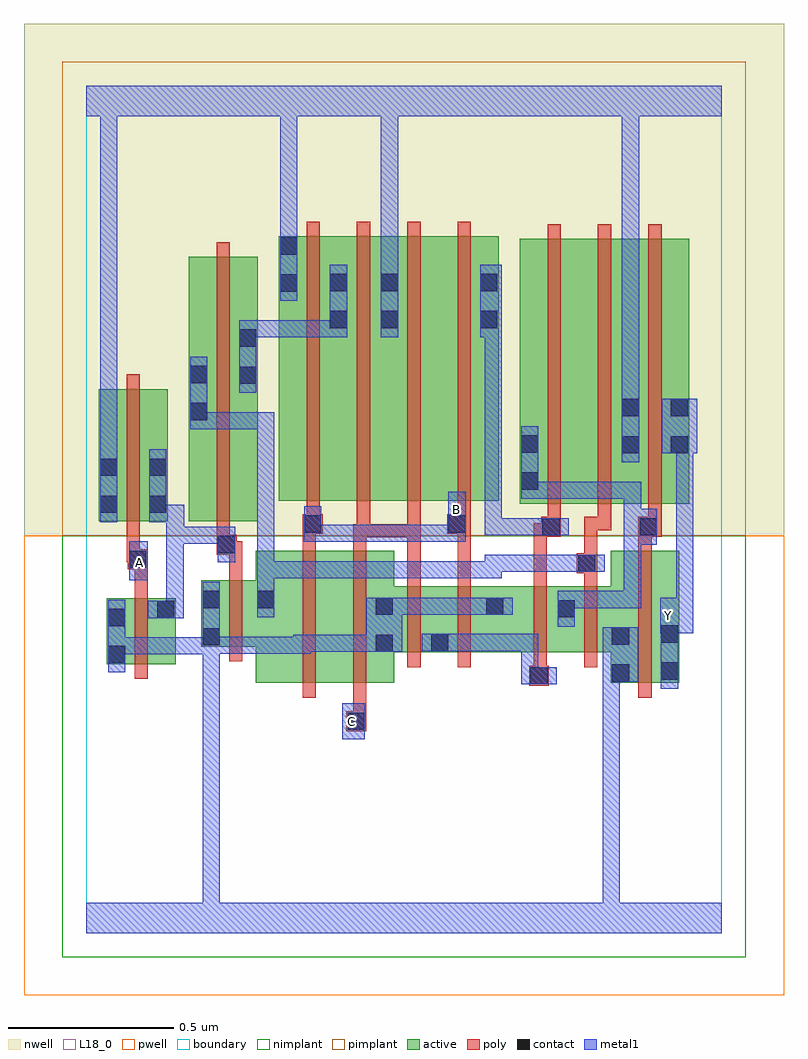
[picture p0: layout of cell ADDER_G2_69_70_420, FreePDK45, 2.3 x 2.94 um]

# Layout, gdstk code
import gdstk
lib = gdstk.Library(unit=1e-6, precision=1e-09)
def R(c, l, rs):  # rectangles x0, y0, x1, y1
    for r in rs: c.add(gdstk.rectangle(r[:2], r[2:], *l))
def A(c, l, x, y, w, h, nx, ny, dx, dy):  # array of equal rectangles
    R(c, l, [(x+i*dx, y+j*dy, x+i*dx+w, y+j*dy+h) for i in range(nx) for j in range(ny)])
active = (1, 0)
pwell = (2, 0)
nwell = (3, 0)
nimplant = (4, 0)
pimplant = (5, 0)
poly = (9, 0)
contact = (10, 0)
metal1 = (11, 0)
L18_0 = (18, 0)
boundary = (235, 0)

adder_g2_69_70_420 = lib.new_cell('ADDER_G2_69_70_420')
R(adder_g2_69_70_420, active, [(0.512,0.756,0.75,1.156), (0.75,0.756,0.93,1.156), (0.87,0.756,0.93,1.018), (1.584,0.756,1.792,1.156), (1.584,0.756,1.644,0.934), (1.732,0.756,1.792,1.156), (0.062,0.812,0.122,1.012), (0.062,0.812,0.27,1.012), (0.21,0.812,0.27,1.012), (0.512,0.828,0.572,1.038), (0.87,0.848,1.098,1.048), (1.038,0.848,1.264,1.048), (1.038,0.848,1.098,0.956), (1.204,0.848,1.48,1.048), (1.42,0.848,1.644,1.048), (0.348,0.866,0.572,1.066), (0.348,0.866,0.408,1.066), (1.42,0.95,1.48,1.01), (1.204,0.952,1.264,1.018), (0.038,1.244,0.098,1.644), (0.038,1.244,0.246,1.644), (0.186,1.244,0.246,1.644), (0.31,1.244,0.518,2.044), (0.31,1.244,0.37,2.044), (0.458,1.244,0.518,2.044), (1.31,1.298,1.49,2.098), (1.31,1.298,1.37,2.098), (1.49,1.298,1.674,2.098), (1.614,1.298,1.822,2.098), (1.762,1.298,1.822,2.044), (0.582,1.306,0.642,2.106), (0.582,1.306,0.792,2.106), (0.732,1.306,0.792,2.106), (0.732,1.306,0.946,2.106), (0.886,1.306,1.066,2.106), (0.886,1.306,0.946,2.044), (1.066,1.306,1.246,2.106), (1.186,1.306,1.246,2.106), (1.614,1.412,1.674,2.044)])
R(adder_g2_69_70_420, pwell, [(-0.188,-0.188,2.108,1.2)])
R(adder_g2_69_70_420, nwell, [(-0.188,1.2,2.108,2.748)])
R(adder_g2_69_70_420, nimplant, [(-0.072,-0.072,1.992,1.2)])
R(adder_g2_69_70_420, pimplant, [(-0.072,1.2,1.992,2.632)])
A(adder_g2_69_70_420, poly, 1.394, 1.218, 0.04, 0.076, 3, 1, 0.152, 0)
A(adder_g2_69_70_420, poly, 1.394, 1.254, 0.04, 0.888, 3, 1, 0.152, 0)
A(adder_g2_69_70_420, poly, 0.666, 1.262, 0.04, 0.888, 4, 1, 0.152, 0)
R(adder_g2_69_70_420, poly, [(0.786,0.61,0.846,0.67), (0.806,0.63,0.846,0.752), (0.654,0.712,0.694,1.2), (0.806,0.712,0.846,1.2), (1.668,0.712,1.708,1.2), (1.338,0.748,1.398,0.808), (0.146,0.768,0.186,1.056), (1.352,0.768,1.392,0.844), (0.97,0.804,1.01,1.092), (1.122,0.804,1.162,1.092), (1.352,0.804,1.392,1.092), (1.504,0.804,1.544,1.092), (0.432,0.822,0.472,1.11), (0.146,1.016,0.186,1.14), (0.97,1.052,1.01,1.236), (1.122,1.052,1.162,1.246), (1.352,1.052,1.392,1.238), (1.504,1.052,1.544,1.128), (0.432,1.07,0.472,1.184), (1.482,1.088,1.544,1.148), (0.126,1.1,0.186,1.16), (1.504,1.108,1.544,1.258), (0.122,1.12,0.162,1.24), (0.122,1.12,0.166,1.16), (0.126,1.12,0.166,1.16), (0.394,1.144,0.454,1.204), (0.414,1.144,0.454,1.184), (0.414,1.144,0.472,1.184), (0.654,1.16,0.694,1.246), (0.806,1.16,0.846,1.236), (1.668,1.16,1.708,1.238), (0.394,1.164,0.434,1.24), (0.806,1.196,0.858,1.236), (0.818,1.196,0.858,1.236), (0.818,1.196,0.858,1.236), (0.818,1.196,0.858,1.302), (0.818,1.196,1.01,1.236), (0.97,1.196,1.01,1.236), (0.97,1.196,1.01,1.236), (0.97,1.196,1.01,1.236), (0.97,1.196,1.01,1.236), (0.97,1.196,1.01,1.236), (0.97,1.196,1.01,1.302), (1.352,1.198,1.414,1.238), (1.374,1.198,1.414,1.238), (1.374,1.198,1.434,1.258), (1.668,1.198,1.708,1.238), (1.668,1.198,1.708,1.238), (1.668,1.198,1.738,1.258), (0.122,1.2,0.162,1.688), (0.394,1.2,0.434,2.088), (0.654,1.206,0.694,1.246), (0.654,1.206,0.694,1.246), (0.654,1.206,0.714,1.266), (1.09,1.206,1.162,1.266), (1.122,1.206,1.162,1.246), (1.122,1.206,1.162,1.246), (1.504,1.218,1.586,1.258), (0.666,1.226,0.706,1.302), (1.122,1.226,1.162,1.302)])
R(adder_g2_69_70_420, contact, [(0.79,0.614,0.842,0.666), (1.342,0.752,1.394,0.804), (1.588,0.76,1.64,0.812), (1.736,0.766,1.788,0.818), (0.066,0.816,0.118,0.868), (0.874,0.85,0.926,0.902), (1.042,0.852,1.094,0.904), (0.352,0.87,0.404,0.922), (1.588,0.872,1.64,0.924), (1.736,0.878,1.788,0.93), (0.066,0.928,0.118,0.98), (0.214,0.952,0.266,1.004), (1.424,0.954,1.476,1.006), (0.874,0.962,0.926,1.014), (1.208,0.962,1.26,1.014), (0.352,0.982,0.404,1.034), (0.516,0.982,0.568,1.034), (1.486,1.092,1.538,1.144), (0.13,1.104,0.182,1.156), (0.398,1.148,0.45,1.2), (1.378,1.202,1.43,1.254), (1.672,1.202,1.724,1.254), (0.658,1.21,0.71,1.262), (1.094,1.21,1.146,1.262), (0.042,1.27,0.094,1.322), (0.19,1.27,0.242,1.322), (1.314,1.34,1.366,1.392), (0.042,1.382,0.094,1.434), (0.19,1.382,0.242,1.434), (1.618,1.45,1.67,1.502), (1.766,1.45,1.818,1.502), (1.314,1.452,1.366,1.504), (0.314,1.55,0.366,1.602), (1.618,1.562,1.67,1.614), (1.766,1.562,1.818,1.614), (0.462,1.66,0.514,1.712), (0.314,1.662,0.366,1.714), (0.462,1.772,0.514,1.824), (0.736,1.828,0.788,1.88), (0.89,1.828,0.942,1.88), (1.19,1.828,1.242,1.88), (0.586,1.938,0.638,1.99), (0.736,1.94,0.788,1.992), (0.89,1.94,0.942,1.992), (1.19,1.94,1.242,1.992), (0.586,2.05,0.638,2.102)])
R(adder_g2_69_70_420, metal1, [(0,0,1.92,0.092), (0.352,0.04,0.404,0.092), (0.352,0.04,0.404,0.092), (0.352,0.04,0.404,0.092), (0.352,0.04,0.404,0.092), (0.352,0.04,0.404,0.092), (0.352,0.04,0.404,0.092), (0.352,0.04,0.404,0.092), (0.352,0.04,0.404,0.092), (0.352,0.04,0.404,0.092), (0.352,0.04,0.404,0.092), (0.352,0.04,0.404,0.092), (0.352,0.04,0.404,0.092), (0.352,0.04,0.404,0.092), (0.352,0.04,0.404,0.092), (0.352,0.04,0.404,0.092), (0.352,0.04,0.404,0.092), (0.352,0.04,0.404,0.894), (1.56,0.04,1.612,0.092), (1.56,0.04,1.612,0.092), (1.56,0.04,1.612,0.092), (1.56,0.04,1.612,0.092), (1.56,0.04,1.612,0.092), (1.56,0.04,1.612,0.092), (1.56,0.04,1.612,0.092), (1.56,0.04,1.612,0.092), (1.56,0.04,1.612,0.092), (1.56,0.04,1.612,0.092), (1.56,0.04,1.612,0.092), (1.56,0.04,1.612,0.092), (1.56,0.04,1.612,0.812), (0.774,0.586,0.842,0.694), (1.736,0.738,1.788,0.958), (1.314,0.752,1.366,0.804), (1.314,0.752,1.366,0.804), (1.314,0.752,1.422,0.804), (1.314,0.752,1.366,0.904), (1.56,0.76,1.668,0.924), (0.066,0.788,0.118,1.008), (0.066,0.842,0.118,0.894), (0.066,0.842,0.118,0.894), (0.066,0.842,0.34,0.894), (0.288,0.842,0.34,0.894), (0.288,0.842,0.404,0.894), (0.352,0.842,0.404,1.062), (0.352,0.844,0.528,0.896), (0.476,0.844,0.528,0.896), (0.476,0.844,0.528,0.896), (0.476,0.844,0.528,0.896), (0.476,0.844,0.678,0.896), (0.626,0.844,0.678,0.896), (0.626,0.844,0.678,0.902), (0.626,0.85,0.678,0.902), (0.626,0.85,0.678,0.902), (0.626,0.85,0.678,0.902), (0.626,0.85,0.788,0.902), (0.736,0.85,0.788,0.902), (0.736,0.85,0.832,0.902), (0.78,0.85,0.832,0.902), (0.78,0.85,0.898,0.902), (0.846,0.85,0.954,1.014), (1.014,0.852,1.122,0.904), (1.07,0.852,1.122,0.904), (1.07,0.852,1.122,0.904), (1.07,0.852,1.256,0.904), (1.204,0.852,1.256,0.904), (1.204,0.852,1.366,0.904), (1.314,0.852,1.366,0.904), (1.734,0.906,1.834,1.014), (1.736,0.906,1.788,0.958), (1.424,0.926,1.476,1.034), (0.186,0.952,0.294,1.004), (0.242,0.952,0.294,1.294), (0.516,0.954,0.568,1.062), (0.902,0.962,0.954,1.014), (0.902,0.962,0.954,1.014), (0.902,0.962,1.066,1.014), (1.014,0.962,1.066,1.014), (1.014,0.962,1.066,1.014), (1.014,0.962,1.066,1.014), (1.014,0.962,1.232,1.014), (1.18,0.962,1.288,1.014), (1.782,0.962,1.834,1.502), (1.782,0.962,1.834,1.014), (1.782,0.962,1.834,1.014), (1.424,0.982,1.476,1.034), (1.424,0.982,1.476,1.034), (1.424,0.982,1.676,1.034), (1.624,0.982,1.676,1.034), (1.624,0.982,1.676,1.034), (1.624,0.982,1.676,1.034), (1.624,0.982,1.676,1.252), (0.516,1.01,0.568,1.124), (0.13,1.066,0.186,1.184), (0.516,1.072,0.568,1.124), (0.516,1.072,0.568,1.124), (0.516,1.072,0.568,1.124), (0.516,1.072,0.678,1.124), (0.516,1.072,0.568,1.574), (0.626,1.072,0.678,1.124), (0.626,1.072,0.678,1.124), (0.626,1.072,0.678,1.124), (0.626,1.072,0.788,1.124), (0.736,1.072,0.788,1.124), (0.736,1.072,0.832,1.124), (0.78,1.072,0.832,1.124), (0.78,1.072,0.942,1.124), (0.89,1.072,0.942,1.124), (0.89,1.072,0.942,1.124), (0.89,1.072,0.942,1.124), (0.89,1.072,1.066,1.124), (1.014,1.072,1.066,1.124), (1.014,1.072,1.066,1.124), (1.014,1.072,1.066,1.124), (1.014,1.072,1.256,1.124), (1.204,1.072,1.256,1.124), (1.204,1.072,1.256,1.124), (1.204,1.072,1.256,1.144), (1.204,1.092,1.366,1.144), (1.314,1.092,1.366,1.144), (1.314,1.092,1.476,1.144), (1.424,1.092,1.476,1.144), (1.424,1.092,1.51,1.144), (1.458,1.092,1.566,1.144), (0.398,1.12,0.45,1.228), (1.672,1.174,1.724,1.282), (0.244,1.176,0.45,1.228), (0.244,1.176,0.296,1.294), (0.658,1.182,0.71,1.29), (0.658,1.182,0.788,1.234), (0.736,1.182,0.788,1.234), (0.736,1.182,0.832,1.234), (0.78,1.182,0.832,1.234), (0.78,1.182,0.956,1.234), (0.904,1.182,0.956,1.234), (0.904,1.182,0.956,1.234), (0.904,1.182,0.956,1.234), (0.904,1.182,1.066,1.234), (1.014,1.182,1.066,1.234), (1.014,1.182,1.146,1.234), (1.094,1.182,1.146,1.334), (1.624,1.2,1.676,1.252), (1.624,1.2,1.724,1.252), (1.624,1.2,1.676,1.364), (1.204,1.202,1.256,1.254), (1.204,1.202,1.256,1.254), (1.204,1.202,1.256,1.254), (1.204,1.202,1.402,1.254), (1.204,1.202,1.256,1.852), (1.35,1.202,1.458,1.254), (0.042,1.242,0.094,1.462), (0.19,1.242,0.242,1.294), (0.19,1.242,0.242,1.462), (0.19,1.242,0.296,1.294), (0.242,1.242,0.294,1.294), (0.242,1.242,0.294,1.294), (0.244,1.242,0.296,1.294), (1.314,1.312,1.366,1.364), (1.314,1.312,1.366,1.364), (1.314,1.312,1.366,1.532), (1.314,1.312,1.502,1.364), (1.45,1.312,1.502,1.364), (1.45,1.312,1.502,1.364), (1.45,1.312,1.502,1.364), (1.45,1.312,1.676,1.364), (1.624,1.312,1.676,1.364), (0.042,1.41,0.094,2.52), (1.618,1.422,1.67,1.642), (1.738,1.45,1.846,1.614), (0.314,1.522,0.366,1.742), (0.314,1.522,0.528,1.574), (0.476,1.522,0.528,1.574), (0.476,1.522,0.568,1.574), (0.516,1.522,0.568,1.574), (1.618,1.59,1.67,1.642), (1.618,1.59,1.67,1.642), (1.618,1.59,1.67,1.642), (1.618,1.59,1.67,1.642), (1.618,1.59,1.67,1.642), (1.618,1.59,1.67,1.642), (1.618,1.59,1.67,2.52), (0.462,1.632,0.514,1.852), (0.462,1.8,0.678,1.852), (0.626,1.8,0.678,1.852), (0.626,1.8,0.678,1.852), (0.626,1.8,0.678,1.852), (0.626,1.8,0.678,1.852), (0.626,1.8,0.678,1.852), (0.626,1.8,0.788,1.852), (0.736,1.8,0.788,2.02), (0.89,1.8,0.942,2.02), (1.19,1.8,1.256,2.02), (0.586,1.91,0.638,2.13), (0.89,1.968,0.942,2.02), (0.89,1.968,0.942,2.02), (0.89,1.968,0.942,2.02), (0.89,1.968,0.942,2.02), (0.89,1.968,0.942,2.52), (0.586,2.078,0.638,2.13), (0.586,2.078,0.638,2.13), (0.586,2.078,0.638,2.52), (0,2.468,1.92,2.56), (0.042,2.468,0.094,2.52), (0.042,2.468,0.094,2.52), (0.042,2.468,0.094,2.52), (0.042,2.468,0.094,2.52), (0.042,2.468,0.094,2.52), (0.042,2.468,0.094,2.52), (0.042,2.468,0.094,2.52), (0.042,2.468,0.094,2.52), (0.042,2.468,0.094,2.52), (0.042,2.468,0.094,2.52), (0.042,2.468,0.094,2.52), (0.042,2.468,0.094,2.52), (0.042,2.468,0.094,2.52), (0.042,2.468,0.094,2.52), (0.042,2.468,0.094,2.52), (0.042,2.468,0.094,2.52), (0.586,2.468,0.638,2.52), (0.586,2.468,0.638,2.52), (0.586,2.468,0.638,2.52), (0.586,2.468,0.638,2.52), (0.586,2.468,0.638,2.52), (0.586,2.468,0.638,2.52), (0.89,2.468,0.942,2.52), (0.89,2.468,0.942,2.52), (0.89,2.468,0.942,2.52), (0.89,2.468,0.942,2.52), (1.618,2.468,1.67,2.52), (1.618,2.468,1.67,2.52)])
R(adder_g2_69_70_420, L18_0, [(0,0,1.92,0.092), (0.352,0.04,0.404,0.092), (0.352,0.04,0.404,0.092), (0.352,0.04,0.404,0.092), (0.352,0.04,0.404,0.092), (0.352,0.04,0.404,0.092), (0.352,0.04,0.404,0.092), (0.352,0.04,0.404,0.092), (0.352,0.04,0.404,0.092), (0.352,0.04,0.404,0.092), (0.352,0.04,0.404,0.092), (0.352,0.04,0.404,0.092), (0.352,0.04,0.404,0.092), (0.352,0.04,0.404,0.092), (0.352,0.04,0.404,0.092), (0.352,0.04,0.404,0.092), (0.352,0.04,0.404,0.092), (0.352,0.04,0.404,0.894), (1.56,0.04,1.612,0.092), (1.56,0.04,1.612,0.092), (1.56,0.04,1.612,0.092), (1.56,0.04,1.612,0.092), (1.56,0.04,1.612,0.092), (1.56,0.04,1.612,0.092), (1.56,0.04,1.612,0.092), (1.56,0.04,1.612,0.092), (1.56,0.04,1.612,0.092), (1.56,0.04,1.612,0.092), (1.56,0.04,1.612,0.092), (1.56,0.04,1.612,0.092), (1.56,0.04,1.612,0.812), (0.774,0.586,0.842,0.694), (0.774,0.614,0.826,0.666), (1.736,0.738,1.788,0.958), (1.56,0.76,1.668,0.924), (0.066,0.788,0.118,1.008), (0.066,0.842,0.118,0.894), (0.066,0.842,0.118,0.894), (0.066,0.842,0.34,0.894), (0.288,0.842,0.34,0.894), (0.288,0.842,0.404,0.894), (0.352,0.842,0.404,1.062), (0.352,0.844,0.528,0.896), (0.476,0.844,0.528,0.896), (0.476,0.844,0.528,0.896), (0.476,0.844,0.528,0.896), (0.476,0.844,0.678,0.896), (0.626,0.844,0.678,0.896), (0.626,0.844,0.678,0.902), (0.626,0.85,0.678,0.902), (0.626,0.85,0.678,0.902), (0.626,0.85,0.678,0.902), (0.626,0.85,0.788,0.902), (0.736,0.85,0.788,0.902), (0.736,0.85,0.832,0.902), (0.78,0.85,0.832,0.902), (0.78,0.85,0.898,0.902), (0.846,0.85,0.954,1.014), (1.734,0.906,1.834,1.014), (1.736,0.906,1.788,0.958), (1.734,0.934,1.786,0.986), (0.902,0.962,0.954,1.014), (0.902,0.962,0.954,1.014), (0.902,0.962,1.066,1.014), (1.014,0.962,1.066,1.014), (1.014,0.962,1.066,1.014), (1.014,0.962,1.066,1.014), (1.014,0.962,1.232,1.014), (1.18,0.962,1.288,1.014), (1.782,0.962,1.834,1.014), (1.782,0.962,1.834,1.014), (1.782,0.962,1.834,1.502), (0.13,1.066,0.186,1.184), (0.134,1.094,0.186,1.146), (0.658,1.182,0.71,1.29), (0.658,1.182,0.788,1.234), (0.736,1.182,0.788,1.234), (0.736,1.182,0.832,1.234), (0.78,1.182,0.832,1.234), (0.78,1.182,0.956,1.234), (0.904,1.182,0.956,1.234), (0.904,1.182,0.956,1.234), (0.904,1.182,0.956,1.234), (0.904,1.182,1.066,1.234), (1.014,1.182,1.066,1.234), (1.014,1.182,1.146,1.234), (1.094,1.182,1.146,1.334), (0.042,1.242,0.094,1.462), (1.094,1.254,1.146,1.306), (0.042,1.41,0.094,2.52), (1.618,1.422,1.67,1.642), (1.738,1.45,1.846,1.614), (1.618,1.59,1.67,1.642), (1.618,1.59,1.67,1.642), (1.618,1.59,1.67,1.642), (1.618,1.59,1.67,1.642), (1.618,1.59,1.67,1.642), (1.618,1.59,1.67,1.642), (1.618,1.59,1.67,2.52), (0.89,1.8,0.942,2.02), (0.586,1.91,0.638,2.13), (0.89,1.968,0.942,2.02), (0.89,1.968,0.942,2.02), (0.89,1.968,0.942,2.02), (0.89,1.968,0.942,2.02), (0.89,1.968,0.942,2.52), (0.586,2.078,0.638,2.13), (0.586,2.078,0.638,2.13), (0.586,2.078,0.638,2.52), (0,2.468,1.92,2.56), (0.042,2.468,0.094,2.52), (0.042,2.468,0.094,2.52), (0.042,2.468,0.094,2.52), (0.042,2.468,0.094,2.52), (0.042,2.468,0.094,2.52), (0.042,2.468,0.094,2.52), (0.042,2.468,0.094,2.52), (0.042,2.468,0.094,2.52), (0.042,2.468,0.094,2.52), (0.042,2.468,0.094,2.52), (0.042,2.468,0.094,2.52), (0.042,2.468,0.094,2.52), (0.042,2.468,0.094,2.52), (0.042,2.468,0.094,2.52), (0.042,2.468,0.094,2.52), (0.042,2.468,0.094,2.52), (0.586,2.468,0.638,2.52), (0.586,2.468,0.638,2.52), (0.586,2.468,0.638,2.52), (0.586,2.468,0.638,2.52), (0.586,2.468,0.638,2.52), (0.586,2.468,0.638,2.52), (0.89,2.468,0.942,2.52), (0.89,2.468,0.942,2.52), (0.89,2.468,0.942,2.52), (0.89,2.468,0.942,2.52), (1.618,2.468,1.67,2.52), (1.618,2.468,1.67,2.52)])
R(adder_g2_69_70_420, boundary, [(0,0,1.92,2.56)])
adder_g2_69_70_420.add(gdstk.Label('A', (0.16,1.12), layer=11, texttype=0))
adder_g2_69_70_420.add(gdstk.Label('B', (1.12,1.28), layer=11, texttype=0))
adder_g2_69_70_420.add(gdstk.Label('C', (0.8,0.64), layer=11, texttype=0))
adder_g2_69_70_420.add(gdstk.Label('Y', (1.76,0.96), layer=11, texttype=0))

lib.write_gds('ADDER_G2_69_70_420.gds')
